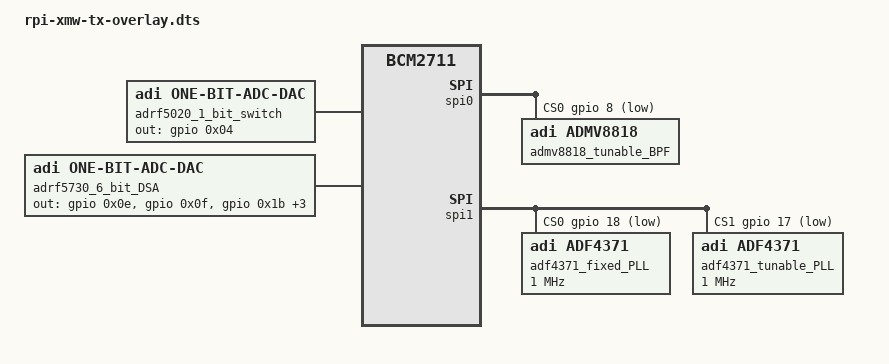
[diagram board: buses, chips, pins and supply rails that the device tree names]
// SPDX-License-Identifier: GPL-2.0
/*
 * Overlay for the XMW TX Platform, controlled by RPI4
 *
 * Edit config.txt in the boot partition of your SD card as follows to
 * enable spi0 and spi1 (SPI1 and SPI2 on XMW Bridge Board) with 1 and 2
 * CS pins respectively.
 *
 * Uncomment this line to turn on the SPI interface:
 * dtparam=spi=on
 *
 * Add these lines under [all] at the end of the file to enable overlays:
 *
 * [all]
 * dtoverlay=rpi-xmw-tx
 * dtoverlay=spi0-1cs
 * dtoverlay=spi1-2cs
 *
 */

/dts-v1/;
/plugin/;

/ {
	compatible = "brcm,bcm2711";
};

&{/clocks} {
	admv8818_rfin: clock@0 {
		compatible = "fixed-clock";
		#clock-cells = <0>;

		clock-frequency = <100000000>; // 100 MHz
		clock-output-names = "rf_in";
	};

	adf4371_clkin: clock@1 {
		compatible = "fixed-clock";
		#clock-cells = <0>;

		clock-freqency = <100000000>; // 100 MHz
		clock-output-names = "clkin";
	};
};

&{/} {
	/* 1-bit switch controlled with GPIO pin 4 on the RPI */
	adrf5020_1_bit_switch: adrf5020_control@0 {
		label = "adrf5020_1_bit_switch";
		compatible = "adi,one-bit-adc-dac";
		#address-cells = <1>;
		#size-cells = <0>;

		out-gpios = <&gpio 0x04 0>;

		channel@0 {
			reg = <0>;
			label = "SW1_CTL_IN";
		};
	};

	/* 6-bit DSA controlled with GPIO pins 14, 15, 27, 22, 23, 24 on the RPI */
	adrf5730_6_bit_DSA: adrf5730_control@0 {
		label = "adrf5730_6_bit_DSA";
		compatible = "adi,one-bit-adc-dac";
		#address-cells = <1>;
		#size-cells = <0>;

		out-gpios = <&gpio  0x0e 0>, <&gpio  0x0f 0>, <&gpio  0x1b 0>, <&gpio  0x16 0>, <&gpio  0x17 0>, <&gpio  0x18 0>;

		channel@0 {
			reg = <0>;
			label = "DSA1_D0";
		};
		channel@1 {
			reg = <1>;
			label = "DSA1_D1";
		};
		channel@2 {
			reg = <2>;
			label = "DSA1_D2";
		};
		channel@3 {
			reg = <3>;
			label = "DSA1_D3";
		};
		channel@4 {
			reg = <4>;
			label = "DSA1_D4";
		};
		channel@5 {
			reg = <5>;
			label = "DSA1_D5";
		};
	};
}

&spidev0 {
	status = "disabled";
};

/* Defining GPIO pin 8 as CS0 pin for spi0 (SPI1 on XMW Bridge Board) */
&spi0_cs_pins {
	brcm,pins = <8>;
	brcm,function = <1>; //output
};

/* SPI1 on XMW Bridge Board */
&spi0 {
	#address-cells = <1>;
	#size-cells = <0>;
	status = "okay";

	cs-gpios = <&gpio 8 1>;

	admv8818_tunable_BPF: admv8818@0 {
		compatible = "adi,admv8818";
		reg = <0>; // CS0 on SPI1
		spi-max-freqency = <10000000>; // 10 MHz

		clocks = <&admv8818_rfin>;
		clock-scales = <1 50>;
		clock-names = "rf_in";
		adi,bw-hz = /bits/ 64 <600000000>; // 600 MHz
	};
};

&spidev1 {
	status = "disabled";
};

/* Defining GPIO pins 18, 17 as CS0 and CS1 pins for spi1 (SPI2 on XMW Bridge Board) */
&spi1_cs_pins {
	brcm,pins = <18 17>;
	brcm,function = <1>; //output
};

/* SPI2 on XMW Bridge Board */
&spi1 {
	#address-cells = <1>;
	#size-cells = <0>;
	status = "okay";

	cs-gpios = <&gpio 18 1>, <&gpio 17 1>;

	/* Power-up frequencies for all channels should be in sync with each other */
	adf4371_fixed_PLL: adf4371@0 {
		label = "adf4371_fixed_PLL";
		compatible = "adi,adf4371";
		reg = <0>; // CS0 on SPI2
		spi-max-frequency = <1000000>; // 1 MHz
		adi,spi-3wire-enable;

		clocks = <&adf4371_clkin>;
		clock-names = "clkin";
		clock-scales = <1 10>;

		RF8: channel@0 {
			reg = <0>;
			adi,output-enable;
			adi,power-up-frequency = /bits/ 64 <8000000000>; // 8 GHz
		};

		RF8_AUX: channel@1 {
			reg = <1>;
			adi,output-enable;
		};

		RF16: channel@2 {
			reg = <2>;
			adi,output-enable;
			adi,power-up-frequency = /bits/ 64 <16000000000>; // 16 GHz
		};

		RF32: channel@3 {
			reg = <3>;
			adi,output-enable;
			adi,power-up-frequency = /bits/ 64 <32000000000>; // 32 GHz
		};
	};

	/* Power-up frequencies for all channels should be in sync with each other */
	adf4371_tunable_PLL: adf4371@1 {
		label = "adf4371_tunable_PLL";
		compatible = "adi,adf4371";
		reg = <1>; // CS1 on SPI2
		spi-max-frequency = <1000000>; // 1 MHz
		adi,spi-3wire-enable;

		clocks = <&adf4371_clkin>;
		clock-names = "clkin";
		clock-scales = <1 10>;

		RF8: channel@0 {
			reg = <0>;
			adi,output-enable;
			adi,power-up-frequency = /bits/ 64 <8000000000>; // 8 GHz
		};

		RF8_AUX: channel@1 {
			reg = <1>;
			adi,output-enable;
		};

		RF16: channel@2 {
			reg = <2>;
			adi,output-enable;
			adi,power-up-frequency = /bits/ 64 <16000000000>; // 16 GHz
		};

		RF32: channel@3 {
			reg = <3>;
			adi,output-enable;
			adi,power-up-frequency = /bits/ 64 <32000000000>; // 32 GHz
		};
	};
};
